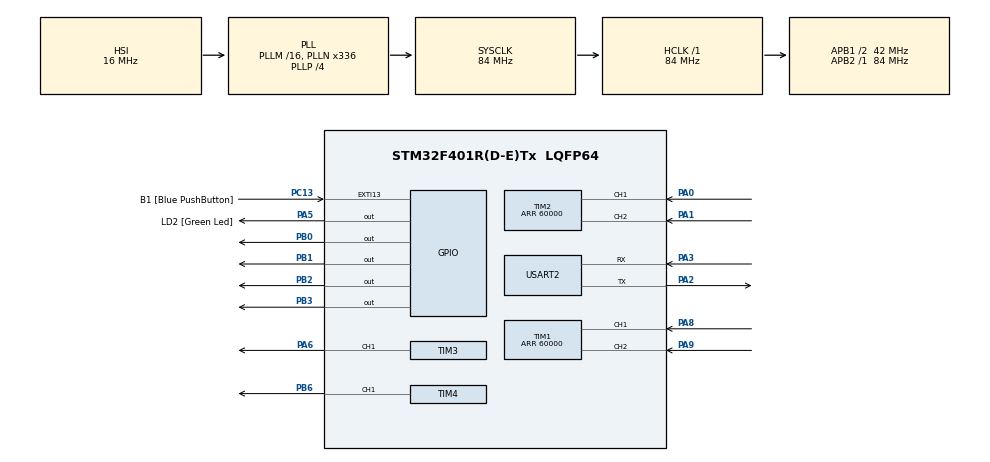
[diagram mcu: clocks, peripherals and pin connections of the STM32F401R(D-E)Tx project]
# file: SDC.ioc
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Dma.Request0=USART2_RX
Dma.USART2_RX.0.Direction=DMA_PERIPH_TO_MEMORY
Dma.USART2_RX.0.FIFOMode=DMA_FIFOMODE_DISABLE
Dma.USART2_RX.0.Instance=DMA1_Stream5
Dma.USART2_RX.0.MemDataAlignment=DMA_MDATAALIGN_BYTE
Dma.USART2_RX.0.MemInc=DMA_MINC_ENABLE
Dma.USART2_RX.0.Mode=DMA_CIRCULAR
Dma.USART2_RX.0.PeriphDataAlignment=DMA_PDATAALIGN_BYTE
Dma.USART2_RX.0.PeriphInc=DMA_PINC_DISABLE
Dma.USART2_RX.0.Priority=DMA_PRIORITY_LOW
Mcu.Family=STM32F4
Mcu.Name=STM32F401R(D-E)Tx
Mcu.Package=LQFP64
NVIC.DMA1_Stream5_IRQn=true\:0\:0\:false\:false\:true\:false
NVIC.EXTI15_10_IRQn=true\:0\:0\:false\:false\:true\:true
NVIC.PriorityGroup=NVIC_PRIORITYGROUP_0
NVIC.TIM1_BRK_TIM9_IRQn=true\:0\:0\:false\:false\:true\:true
NVIC.TIM3_IRQn=true\:0\:0\:false\:false\:true\:true
NVIC.TIM4_IRQn=true\:0\:0\:false\:false\:true\:true
NVIC.USART2_IRQn=true\:0\:0\:false\:false\:true\:true
PA0-WKUP.Signal=S_TIM2_CH1_ETR
PA1.Signal=S_TIM2_CH2
PA13.GPIO_Label=TMS
PA13.Mode=Serial_Wire
PA13.Signal=SYS_JTMS-SWDIO
PA14.GPIO_Label=TCK
PA14.Mode=Serial_Wire
PA14.Signal=SYS_JTCK-SWCLK
PA2.Mode=Asynchronous
PA2.Signal=USART2_TX
PA3.Mode=Asynchronous
PA3.Signal=USART2_RX
PA5.GPIO_Label=LD2 [Green Led]
PA5.GPIO_Mode=GPIO_MODE_OUTPUT_PP
PA5.GPIO_PuPd=GPIO_NOPULL
PA5.GPIO_Speed=GPIO_SPEED_FREQ_LOW
PA5.Signal=GPIO_Output
PA6.Signal=S_TIM3_CH1
PA8.Signal=S_TIM1_CH1
PA9.Signal=S_TIM1_CH2
PB0.Signal=GPIO_Output
PB1.Signal=GPIO_Output
PB2.Signal=GPIO_Output
PB3.Signal=GPIO_Output
PB6.Signal=S_TIM4_CH1
PC13-ANTI_TAMP.GPIO_Label=B1 [Blue PushButton]
PC13-ANTI_TAMP.GPIO_ModeDefaultEXTI=GPIO_MODE_IT_FALLING
PC13-ANTI_TAMP.GPIO_PuPd=GPIO_NOPULL
PC13-ANTI_TAMP.Signal=GPXTI13
PC14-OSC32_IN.Mode=LSE-External-Oscillator
PC14-OSC32_IN.Signal=RCC_OSC32_IN
PC15-OSC32_OUT.Mode=LSE-External-Oscillator
PC15-OSC32_OUT.Signal=RCC_OSC32_OUT
PH0\ -\ OSC_IN.Mode=HSE-External-Clock-Source
PH0\ -\ OSC_IN.Signal=RCC_OSC_IN
PH1\ -\ OSC_OUT.Mode=HSE-External-Clock-Source
PH1\ -\ OSC_OUT.Signal=RCC_OSC_OUT
ProjectManager.HeapSize=0x200
ProjectManager.StackSize=0x400
ProjectManager.TargetToolchain=EWARM
RCC.48MHZClocksFreq_Value=48000000
RCC.AHBFreq_Value=84000000
RCC.APB1CLKDivider=RCC_HCLK_DIV2
RCC.APB1Freq_Value=42000000
RCC.APB1TimFreq_Value=84000000
RCC.APB2Freq_Value=84000000
RCC.APB2TimFreq_Value=84000000
RCC.CortexFreq_Value=84000000
RCC.HCLKFreq_Value=84000000
RCC.HSE_VALUE=8000000
RCC.HSI_VALUE=16000000
RCC.PLLN=336
RCC.PLLP=RCC_PLLP_DIV4
RCC.PLLQ=7
RCC.SYSCLKFreq_VALUE=84000000
RCC.SYSCLKSource=RCC_SYSCLKSOURCE_PLLCLK
RCC.VCOOutputFreq_Value=336000000
SH.S_TIM1_CH1.0=TIM1_CH1,Encoder_Interface
SH.S_TIM1_CH2.0=TIM1_CH2,Encoder_Interface
SH.S_TIM2_CH1_ETR.0=TIM2_CH1,Encoder_Interface
SH.S_TIM2_CH2.0=TIM2_CH2,Encoder_Interface
SH.S_TIM3_CH1.0=TIM3_CH1,PWM Generation1 CH1
SH.S_TIM4_CH1.0=TIM4_CH1,PWM Generation1 CH1
TIM1.EncoderMode=TIM_ENCODERMODE_TI1
TIM1.Period=60000
TIM2.Period=60000
TIM3.Channel-PWM\ Generation1\ CH1=TIM_CHANNEL_1
TIM3.Period=4200 - 1
TIM4.Channel-PWM\ Generation1\ CH1=TIM_CHANNEL_1
TIM4.Period=4200-1
TIM9.Period=10 - 1
TIM9.Prescaler=839
USART2.VirtualMode=VM_ASYNC
VP_TIM9_VS_ClockSourceINT.Mode=Internal
board=NUCLEO-F401RE

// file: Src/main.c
/**
  ******************************************************************************
  * @file           : main.c
  * @brief          : Main program body
  ******************************************************************************
  ** This notice applies to any and all portions of this file
  * that are not between comment pairs USER CODE BEGIN and
  * USER CODE END. Other portions of this file, whether
  * inserted by the user or by software development tools
  * are owned by their respective copyright owners.
  *
  * COPYRIGHT(c) 2020 STMicroelectronics
  *
  * Redistribution and use in source and binary forms, with or without modification,
  * are permitted provided that the following conditions are met:
  *   1. Redistributions of source code must retain the above copyright notice,
  *      this list of conditions and the following disclaimer.
  *   2. Redistributions in binary form must reproduce the above copyright notice,
  *      this list of conditions and the following disclaimer in the documentation
  *      and/or other materials provided with the distribution.
  *   3. Neither the name of STMicroelectronics nor the names of its contributors
  *      may be used to endorse or promote products derived from this software
  *      without specific prior written permission.
  *
  * THIS SOFTWARE IS PROVIDED BY THE COPYRIGHT HOLDERS AND CONTRIBUTORS "AS IS"
  * AND ANY EXPRESS OR IMPLIED WARRANTIES, INCLUDING, BUT NOT LIMITED TO, THE
  * IMPLIED WARRANTIES OF MERCHANTABILITY AND FITNESS FOR A PARTICULAR PURPOSE ARE
  * DISCLAIMED. IN NO EVENT SHALL THE COPYRIGHT HOLDER OR CONTRIBUTORS BE LIABLE
  * FOR ANY DIRECT, INDIRECT, INCIDENTAL, SPECIAL, EXEMPLARY, OR CONSEQUENTIAL
  * DAMAGES (INCLUDING, BUT NOT LIMITED TO, PROCUREMENT OF SUBSTITUTE GOODS OR
  * SERVICES; LOSS OF USE, DATA, OR PROFITS; OR BUSINESS INTERRUPTION) HOWEVER
  * CAUSED AND ON ANY THEORY OF LIABILITY, WHETHER IN CONTRACT, STRICT LIABILITY,
  * OR TORT (INCLUDING NEGLIGENCE OR OTHERWISE) ARISING IN ANY WAY OUT OF THE USE
  * OF THIS SOFTWARE, EVEN IF ADVISED OF THE POSSIBILITY OF SUCH DAMAGE.
  *
  ******************************************************************************
  */
#include "main.h"
#include "stm32f4xx_hal.h"

/* USER CODE BEGIN Includes */
#include <stdio.h>
#include <string.h>
#include <stdlib.h>

/* USER CODE END Includes */

TIM_HandleTypeDef htim1;
TIM_HandleTypeDef htim2;
TIM_HandleTypeDef htim3;
TIM_HandleTypeDef htim4;
TIM_HandleTypeDef htim9;

UART_HandleTypeDef huart2;
DMA_HandleTypeDef hdma_usart2_rx;

/* USER CODE BEGIN PV */
/* Private variables ---------------------------------------------------------*/
#define RX_BUFF_SIZE 10

volatile int mode = 0;
volatile int cnt = 0;
volatile int car_detected_frame = 0;

int Motor_CCR_L = 0;
int Motor_CCR_R = 0;

uint8_t rx_buff[RX_BUFF_SIZE];
//uint8_t tx_buff[] = "Test Message received!\r\n";
//uint8_t tx_len;

//double lane_infos[3];            // deviation, curvature_L, curvature_R
double deviation;
int object;                         // (0: nothing, 1: car, 2 : pedestrian)

double Kp = 1;
double Ki = 0.00001;
double Kd = 0.002;
double dt = 1;
double err = 0, prev_err = 0;
double err_sum, err_grad;
double p_term, i_term, d_term;

uint8_t tx_len;
uint8_t motor_ccr_L_str[5];
uint8_t motor_ccr_R_str[5];
uint8_t deviation_str[10];

/* USER CODE END PV */

void SystemClock_Config(void);
static void MX_GPIO_Init(void);
static void MX_DMA_Init(void);
static void MX_TIM9_Init(void);
static void MX_TIM3_Init(void);
static void MX_TIM2_Init(void);
static void MX_TIM1_Init(void);
static void MX_USART2_UART_Init(void);
static void MX_TIM4_Init(void);

void HAL_TIM_MspPostInit(TIM_HandleTypeDef *htim);

/* USER CODE BEGIN PFP */
/* Private function prototypes -----------------------------------------------*/

/* USER CODE END PFP */

/* USER CODE BEGIN 0 */
void HAL_GPIO_EXTI_Callback(uint16_t GPIO_Pin) {
  if (GPIO_Pin == GPIO_PIN_13) {
    if (mode == 0) {
      mode = 1;                                                            // 주행 모드
      err = 0, prev_err = 0;
      err_sum = 0, err_grad = 0;
      p_term = 0, i_term = 0, d_term = 0;
    } else {
      mode = 0;                                                            // 대기 모드
      err = 0, prev_err = 0;
      err_sum = 0, err_grad = 0;
      p_term = 0, i_term = 0, d_term = 0;
    }
  }
}

void RoadInfo_Parsing() {                                           // 차선 정보 파싱
  char temp_str[10];
  int end_idx = 0;

  for (int i = 0; i < RX_BUFF_SIZE; i++) {
    if (rx_buff[i] == ' ') {
      end_idx = i;

      strncpy(temp_str, rx_buff, end_idx);
      deviation = atof(temp_str);

      object = rx_buff[i + 1] - 48;
      break;
    }
  }
}

void HAL_TIM_PeriodElapsedCallback(TIM_HandleTypeDef *htim) {                   // Timer Interrupt Routine - 10000hz - 제어주기 0.1ms
  if (htim == &htim9) {
    if (mode == 0) {                                                      // 대기 상태
      HAL_GPIO_WritePin(GPIOA, GPIO_PIN_5, GPIO_PIN_SET);

      Motor_CCR_L = 0;
      Motor_CCR_R = 0;
      TIM3->CCR1 = Motor_CCR_L;
      TIM4->CCR1 = Motor_CCR_R;
    } else {                                                                // 주행
      HAL_GPIO_WritePin(GPIOA, GPIO_PIN_5, GPIO_PIN_RESET);
      // Get lane info - Serial Communication
      RoadInfo_Parsing();

      // PID Control
      err = deviation;            // deviation -> err
      p_term = Kp * err;

      err_sum += err * dt;
      i_term = Ki * err_sum;

      err_grad = (err - prev_err) / dt;
      d_term = Kd * err_grad;

      prev_err = err;

      switch (object) {
      case 0:                   // nothing detected
        cnt = 0;
        car_detected_frame = 0;

        // Set Motor
        Motor_CCR_L = 2500 + (p_term + i_term + d_term);
        Motor_CCR_R = 2500 - (p_term + i_term + d_term);

        if (Motor_CCR_L > 4000) Motor_CCR_L = 4000;
        else if (Motor_CCR_L < 2000) Motor_CCR_L = 2000;
        if (Motor_CCR_R > 4000) Motor_CCR_R = 4000;
        else if (Motor_CCR_R < 2000) Motor_CCR_R = 2000;

        TIM3->CCR1 = Motor_CCR_L;
        HAL_GPIO_WritePin(GPIOB, GPIO_PIN_0, GPIO_PIN_SET);
        HAL_GPIO_WritePin(GPIOB, GPIO_PIN_1, GPIO_PIN_RESET);
        TIM4->CCR1 = Motor_CCR_R;
        HAL_GPIO_WritePin(GPIOB, GPIO_PIN_2, GPIO_PIN_RESET);
        HAL_GPIO_WritePin(GPIOB, GPIO_PIN_3, GPIO_PIN_SET);

        break;

      case 1:                   // car detected
        cnt++;
        if (cnt == 1000) {
          car_detected_frame += 100;
          cnt = 0;
        }

        // Set Motor
        Motor_CCR_L = 2500 + (p_term + i_term + d_term) - car_detected_frame;
        Motor_CCR_R = 2500 - (p_term + i_term + d_term) - car_detected_frame;

        if (Motor_CCR_L > 4000) Motor_CCR_L = 4000;
        else if (Motor_CCR_L < 2000) Motor_CCR_L = 2000;
        if (Motor_CCR_R > 4000) Motor_CCR_R = 4000;
        else if (Motor_CCR_R < 2000) Motor_CCR_R = 2000;

        TIM3->CCR1 = Motor_CCR_L;
        HAL_GPIO_WritePin(GPIOB, GPIO_PIN_0, GPIO_PIN_SET);
        HAL_GPIO_WritePin(GPIOB, GPIO_PIN_1, GPIO_PIN_RESET);
        TIM4->CCR1 = Motor_CCR_R;
        HAL_GPIO_WritePin(GPIOB, GPIO_PIN_2, GPIO_PIN_RESET);
        HAL_GPIO_WritePin(GPIOB, GPIO_PIN_3, GPIO_PIN_SET);

        break;

      case 2:                   // pedestrian detected
        cnt = 0;
        car_detected_frame = 0;

        // Set Motor
        Motor_CCR_L = 0;
        Motor_CCR_R = 0;

        TIM3->CCR1 = Motor_CCR_L;
        HAL_GPIO_WritePin(GPIOB, GPIO_PIN_0, GPIO_PIN_SET);
        HAL_GPIO_WritePin(GPIOB, GPIO_PIN_1, GPIO_PIN_RESET);
        TIM4->CCR1 = Motor_CCR_R;
        HAL_GPIO_WritePin(GPIOB, GPIO_PIN_2, GPIO_PIN_RESET);
        HAL_GPIO_WritePin(GPIOB, GPIO_PIN_3, GPIO_PIN_SET);

        break;

      default:
        break;
      }
    }
  }
}

/* USER CODE END 0 */

int main(void)
{

  /* MCU Configuration----------------------------------------------------------*/

  /* Reset of all peripherals, Initializes the Flash interface and the Systick. */
  HAL_Init();

  /* Configure the system clock */
  SystemClock_Config();

  /* Initialize all configured peripherals */
  MX_GPIO_Init();
  MX_DMA_Init();
  MX_TIM9_Init();
  MX_TIM3_Init();
  MX_TIM2_Init();
  MX_TIM1_Init();
  MX_USART2_UART_Init();
  MX_TIM4_Init();
  /* USER CODE BEGIN 2 */
  // Timer/Counter 9 for Timer Interrupt Routine
  HAL_TIM_Base_Start_IT(&htim9);

  // Timer/Counter 3 for Set Motor
  HAL_TIM_PWM_Start(&htim3, TIM_CHANNEL_1);
  HAL_TIMEx_PWMN_Start(&htim3, TIM_CHANNEL_1);
  HAL_TIM_PWM_Start(&htim4, TIM_CHANNEL_1);
  HAL_TIMEx_PWMN_Start(&htim4, TIM_CHANNEL_1);

  // Timer/Counter 1,2 each for get encoder info
  HAL_TIM_Encoder_Start(&htim1, TIM_CHANNEL_ALL);
  HAL_TIM_Encoder_Start(&htim2, TIM_CHANNEL_ALL);

  // USART2 RX DMA Setting
  HAL_UART_Receive_DMA(&huart2, rx_buff, RX_BUFF_SIZE);

  /* USER CODE END 2 */

  /* Infinite loop */
  while (1)
  {

  }

}

void SystemClock_Config(void)
{

  RCC_OscInitTypeDef RCC_OscInitStruct;
  RCC_ClkInitTypeDef RCC_ClkInitStruct;

    /**Configure the main internal regulator output voltage
    */
  __HAL_RCC_PWR_CLK_ENABLE();

  __HAL_PWR_VOLTAGESCALING_CONFIG(PWR_REGULATOR_VOLTAGE_SCALE2);

    /**Initializes the CPU, AHB and APB busses clocks
    */
  RCC_OscInitStruct.OscillatorType = RCC_OSCILLATORTYPE_HSI;
  RCC_OscInitStruct.HSIState = RCC_HSI_ON;
  RCC_OscInitStruct.HSICalibrationValue = 16;
  RCC_OscInitStruct.PLL.PLLState = RCC_PLL_ON;
  RCC_OscInitStruct.PLL.PLLSource = RCC_PLLSOURCE_HSI;
  RCC_OscInitStruct.PLL.PLLM = 16;
  RCC_OscInitStruct.PLL.PLLN = 336;
  RCC_OscInitStruct.PLL.PLLP = RCC_PLLP_DIV4;
  RCC_OscInitStruct.PLL.PLLQ = 7;
  if (HAL_RCC_OscConfig(&RCC_OscInitStruct) != HAL_OK)
  {
    _Error_Handler(__FILE__, __LINE__);
  }

    /**Initializes the CPU, AHB and APB busses clocks
    */
  RCC_ClkInitStruct.ClockType = RCC_CLOCKTYPE_HCLK|RCC_CLOCKTYPE_SYSCLK
                              |RCC_CLOCKTYPE_PCLK1|RCC_CLOCKTYPE_PCLK2;
  RCC_ClkInitStruct.SYSCLKSource = RCC_SYSCLKSOURCE_PLLCLK;
  RCC_ClkInitStruct.AHBCLKDivider = RCC_SYSCLK_DIV1;
  RCC_ClkInitStruct.APB1CLKDivider = RCC_HCLK_DIV2;
  RCC_ClkInitStruct.APB2CLKDivider = RCC_HCLK_DIV1;

  if (HAL_RCC_ClockConfig(&RCC_ClkInitStruct, FLASH_LATENCY_2) != HAL_OK)
  {
    _Error_Handler(__FILE__, __LINE__);
  }

    /**Configure the Systick interrupt time
    */
  HAL_SYSTICK_Config(HAL_RCC_GetHCLKFreq()/1000);

    /**Configure the Systick
    */
  HAL_SYSTICK_CLKSourceConfig(SYSTICK_CLKSOURCE_HCLK);

  /* SysTick_IRQn interrupt configuration */
  HAL_NVIC_SetPriority(SysTick_IRQn, 0, 0);
}

/* TIM1 init function */
static void MX_TIM1_Init(void)
{

  TIM_Encoder_InitTypeDef sConfig;
  TIM_MasterConfigTypeDef sMasterConfig;

  htim1.Instance = TIM1;
  htim1.Init.Prescaler = 0;
  htim1.Init.CounterMode = TIM_COUNTERMODE_UP;
  htim1.Init.Period = 60000;
  htim1.Init.ClockDivision = TIM_CLOCKDIVISION_DIV1;
  htim1.Init.RepetitionCounter = 0;
  sConfig.EncoderMode = TIM_ENCODERMODE_TI1;
  sConfig.IC1Polarity = TIM_ICPOLARITY_RISING;
  sConfig.IC1Selection = TIM_ICSELECTION_DIRECTTI;
  sConfig.IC1Prescaler = TIM_ICPSC_DIV1;
  sConfig.IC1Filter = 0;
  sConfig.IC2Polarity = TIM_ICPOLARITY_RISING;
  sConfig.IC2Selection = TIM_ICSELECTION_DIRECTTI;
  sConfig.IC2Prescaler = TIM_ICPSC_DIV1;
  sConfig.IC2Filter = 0;
  if (HAL_TIM_Encoder_Init(&htim1, &sConfig) != HAL_OK)
  {
    _Error_Handler(__FILE__, __LINE__);
  }

  sMasterConfig.MasterOutputTrigger = TIM_TRGO_RESET;
  sMasterConfig.MasterSlaveMode = TIM_MASTERSLAVEMODE_DISABLE;
  if (HAL_TIMEx_MasterConfigSynchronization(&htim1, &sMasterConfig) != HAL_OK)
  {
    _Error_Handler(__FILE__, __LINE__);
  }

}

/* TIM2 init function */
static void MX_TIM2_Init(void)
{

  TIM_Encoder_InitTypeDef sConfig;
  TIM_MasterConfigTypeDef sMasterConfig;

  htim2.Instance = TIM2;
  htim2.Init.Prescaler = 0;
  htim2.Init.CounterMode = TIM_COUNTERMODE_UP;
  htim2.Init.Period = 60000;
  htim2.Init.ClockDivision = TIM_CLOCKDIVISION_DIV1;
  sConfig.EncoderMode = TIM_ENCODERMODE_TI1;
  sConfig.IC1Polarity = TIM_ICPOLARITY_RISING;
  sConfig.IC1Selection = TIM_ICSELECTION_DIRECTTI;
  sConfig.IC1Prescaler = TIM_ICPSC_DIV1;
  sConfig.IC1Filter = 0;
  sConfig.IC2Polarity = TIM_ICPOLARITY_RISING;
  sConfig.IC2Selection = TIM_ICSELECTION_DIRECTTI;
  sConfig.IC2Prescaler = TIM_ICPSC_DIV1;
  sConfig.IC2Filter = 0;
  if (HAL_TIM_Encoder_Init(&htim2, &sConfig) != HAL_OK)
  {
    _Error_Handler(__FILE__, __LINE__);
  }

  sMasterConfig.MasterOutputTrigger = TIM_TRGO_RESET;
  sMasterConfig.MasterSlaveMode = TIM_MASTERSLAVEMODE_DISABLE;
  if (HAL_TIMEx_MasterConfigSynchronization(&htim2, &sMasterConfig) != HAL_OK)
  {
    _Error_Handler(__FILE__, __LINE__);
  }

}

/* TIM3 init function */
static void MX_TIM3_Init(void)
{

  TIM_MasterConfigTypeDef sMasterConfig;
  TIM_OC_InitTypeDef sConfigOC;

  htim3.Instance = TIM3;
  htim3.Init.Prescaler = 0;
  htim3.Init.CounterMode = TIM_COUNTERMODE_UP;
  htim3.Init.Period = 4200 - 1;
  htim3.Init.ClockDivision = TIM_CLOCKDIVISION_DIV1;
  if (HAL_TIM_PWM_Init(&htim3) != HAL_OK)
  {
    _Error_Handler(__FILE__, __LINE__);
  }

  sMasterConfig.MasterOutputTrigger = TIM_TRGO_RESET;
  sMasterConfig.MasterSlaveMode = TIM_MASTERSLAVEMODE_DISABLE;
  if (HAL_TIMEx_MasterConfigSynchronization(&htim3, &sMasterConfig) != HAL_OK)
  {
    _Error_Handler(__FILE__, __LINE__);
  }

  sConfigOC.OCMode = TIM_OCMODE_PWM1;
  sConfigOC.Pulse = 0;
  sConfigOC.OCPolarity = TIM_OCPOLARITY_HIGH;
  sConfigOC.OCFastMode = TIM_OCFAST_DISABLE;
  if (HAL_TIM_PWM_ConfigChannel(&htim3, &sConfigOC, TIM_CHANNEL_1) != HAL_OK)
  {
    _Error_Handler(__FILE__, __LINE__);
  }

  HAL_TIM_MspPostInit(&htim3);

}

/* TIM4 init function */
static void MX_TIM4_Init(void)
{

  TIM_MasterConfigTypeDef sMasterConfig;
  TIM_OC_InitTypeDef sConfigOC;

  htim4.Instance = TIM4;
  htim4.Init.Prescaler = 0;
  htim4.Init.CounterMode = TIM_COUNTERMODE_UP;
  htim4.Init.Period = 4200-1;
  htim4.Init.ClockDivision = TIM_CLOCKDIVISION_DIV1;
  if (HAL_TIM_PWM_Init(&htim4) != HAL_OK)
  {
    _Error_Handler(__FILE__, __LINE__);
  }

  sMasterConfig.MasterOutputTrigger = TIM_TRGO_RESET;
  sMasterConfig.MasterSlaveMode = TIM_MASTERSLAVEMODE_DISABLE;
  if (HAL_TIMEx_MasterConfigSynchronization(&htim4, &sMasterConfig) != HAL_OK)
  {
    _Error_Handler(__FILE__, __LINE__);
  }

  sConfigOC.OCMode = TIM_OCMODE_PWM1;
  sConfigOC.Pulse = 0;
  sConfigOC.OCPolarity = TIM_OCPOLARITY_HIGH;
  sConfigOC.OCFastMode = TIM_OCFAST_DISABLE;
  if (HAL_TIM_PWM_ConfigChannel(&htim4, &sConfigOC, TIM_CHANNEL_1) != HAL_OK)
  {
    _Error_Handler(__FILE__, __LINE__);
  }

  HAL_TIM_MspPostInit(&htim4);

}

/* TIM9 init function */
static void MX_TIM9_Init(void)
{

  TIM_ClockConfigTypeDef sClockSourceConfig;

  htim9.Instance = TIM9;
  htim9.Init.Prescaler = 839;
  htim9.Init.CounterMode = TIM_COUNTERMODE_UP;
  htim9.Init.Period = 10 - 1;
  htim9.Init.ClockDivision = TIM_CLOCKDIVISION_DIV1;
  if (HAL_TIM_Base_Init(&htim9) != HAL_OK)
  {
    _Error_Handler(__FILE__, __LINE__);
  }

  sClockSourceConfig.ClockSource = TIM_CLOCKSOURCE_INTERNAL;
  if (HAL_TIM_ConfigClockSource(&htim9, &sClockSourceConfig) != HAL_OK)
  {
    _Error_Handler(__FILE__, __LINE__);
  }

}

/* USART2 init function */
static void MX_USART2_UART_Init(void)
{

  huart2.Instance = USART2;
  huart2.Init.BaudRate = 115200;
  huart2.Init.WordLength = UART_WORDLENGTH_8B;
  huart2.Init.StopBits = UART_STOPBITS_1;
  huart2.Init.Parity = UART_PARITY_NONE;
  huart2.Init.Mode = UART_MODE_TX_RX;
  huart2.Init.HwFlowCtl = UART_HWCONTROL_NONE;
  huart2.Init.OverSampling = UART_OVERSAMPLING_16;
  if (HAL_UART_Init(&huart2) != HAL_OK)
  {
    _Error_Handler(__FILE__, __LINE__);
  }

}

static void MX_DMA_Init(void)
{
  /* DMA controller clock enable */
  __HAL_RCC_DMA1_CLK_ENABLE();

  /* DMA interrupt init */
  /* DMA1_Stream5_IRQn interrupt configuration */
  HAL_NVIC_SetPriority(DMA1_Stream5_IRQn, 0, 0);
  HAL_NVIC_EnableIRQ(DMA1_Stream5_IRQn);

}

/** Configure pins as
        * Analog
        * Input
        * Output
        * EVENT_OUT
        * EXTI
*/
static void MX_GPIO_Init(void)
{

  GPIO_InitTypeDef GPIO_InitStruct;

  /* GPIO Ports Clock Enable */
  __HAL_RCC_GPIOC_CLK_ENABLE();
  __HAL_RCC_GPIOH_CLK_ENABLE();
  __HAL_RCC_GPIOA_CLK_ENABLE();
  __HAL_RCC_GPIOB_CLK_ENABLE();

  /*Configure GPIO pin Output Level */
  HAL_GPIO_WritePin(LD2_GPIO_Port, LD2_Pin, GPIO_PIN_RESET);

  /*Configure GPIO pin Output Level */
  HAL_GPIO_WritePin(GPIOB, GPIO_PIN_0|GPIO_PIN_1|GPIO_PIN_2|GPIO_PIN_3, GPIO_PIN_RESET);

  /*Configure GPIO pin : B1_Pin */
  GPIO_InitStruct.Pin = B1_Pin;
  GPIO_InitStruct.Mode = GPIO_MODE_IT_FALLING;
  GPIO_InitStruct.Pull = GPIO_NOPULL;
  HAL_GPIO_Init(B1_GPIO_Port, &GPIO_InitStruct);

  /*Configure GPIO pin : LD2_Pin */
  GPIO_InitStruct.Pin = LD2_Pin;
  GPIO_InitStruct.Mode = GPIO_MODE_OUTPUT_PP;
  GPIO_InitStruct.Pull = GPIO_NOPULL;
  GPIO_InitStruct.Speed = GPIO_SPEED_FREQ_LOW;
  HAL_GPIO_Init(LD2_GPIO_Port, &GPIO_InitStruct);

  /*Configure GPIO pins : PB0 PB1 PB2 PB3 */
  GPIO_InitStruct.Pin = GPIO_PIN_0|GPIO_PIN_1|GPIO_PIN_2|GPIO_PIN_3;
  GPIO_InitStruct.Mode = GPIO_MODE_OUTPUT_PP;
  GPIO_InitStruct.Pull = GPIO_NOPULL;
  GPIO_InitStruct.Speed = GPIO_SPEED_FREQ_LOW;
  HAL_GPIO_Init(GPIOB, &GPIO_InitStruct);

  /* EXTI interrupt init*/
  HAL_NVIC_SetPriority(EXTI15_10_IRQn, 0, 0);
  HAL_NVIC_EnableIRQ(EXTI15_10_IRQn);

}

void _Error_Handler(char *file, int line)
{
  while(1)
  {
  }
}

/************************ (C) COPYRIGHT STMicroelectronics *****END OF FILE****/
